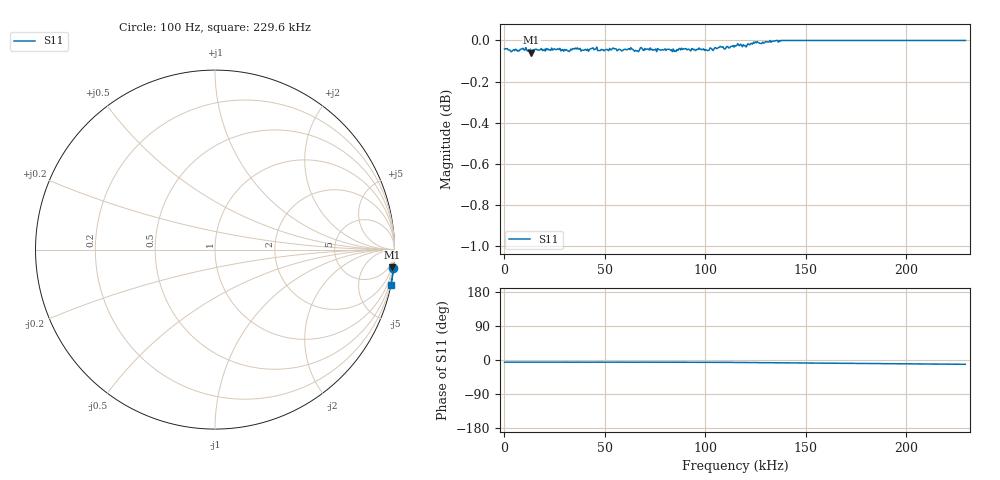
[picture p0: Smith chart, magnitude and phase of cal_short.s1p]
! Touchstone file generated by AntScope2 (calibration data)
# MHz S RI R 50
! Format: Frequency S-real S-imaginary (normalized to 50 Ohm)
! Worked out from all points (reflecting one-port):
!   501 points, 100 Hz to 229.6 kHz, reference 50 ohm
!   lowest |S11| = -0.1 dB at 13.41 kHz (marker M1), VSWR 296.03, Z = 66.9 - j991 ohm
!   phase of S11 starts at -6 deg and turns -6 deg over the sweep
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0.0001  0.9901 -0.1009
0.006526  0.9892 -0.0973
0.009739  0.9898 -0.0996
0.013411  0.9883 -0.0995
0.029017  0.9901 -0.0983
0.034525  0.9904 -0.1
0.039115  0.9895 -0.1002
0.045082  0.99 -0.1002
0.047377  0.9894 -0.0993
0.051967  0.9893 -0.0999
0.057475  0.99 -0.0992
0.062983  0.9909 -0.1005
0.065737  0.9892 -0.1
0.070786  0.9901 -0.1004
0.074917  0.9899 -0.0982
0.078589  0.9898 -0.1005
0.086392  0.9893 -0.1003
0.099244  0.9904 -0.0991
0.11485  0.991 -0.1108
0.11944  0.9906 -0.1139
0.124948  0.9922 -0.1184
0.143767  0.991 -0.1335
0.172225  0.988 -0.1542
0.201142  0.9845 -0.1752
0.212158  0.9829 -0.184
0.217207  0.9823 -0.1871
0.223633  0.9812 -0.1929
0.2296  0.9804 -0.1972
